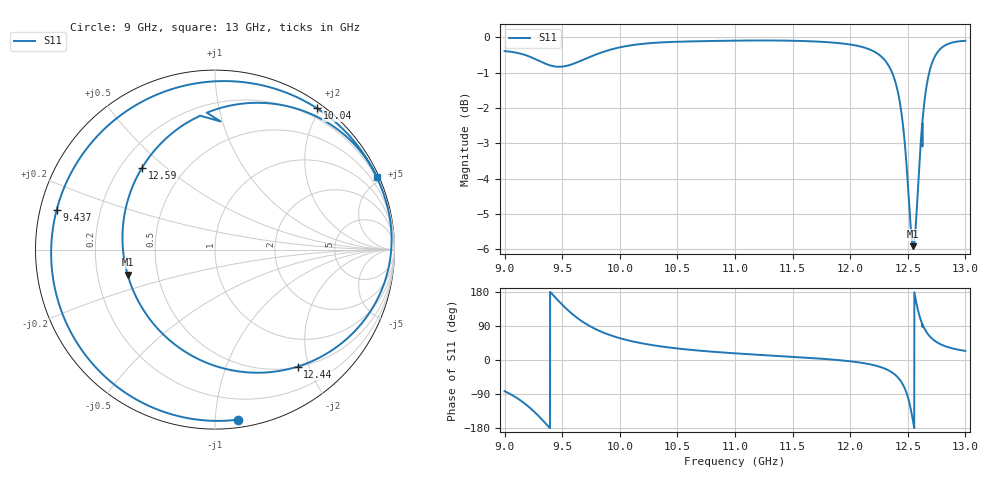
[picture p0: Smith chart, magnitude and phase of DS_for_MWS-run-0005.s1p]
! TOUCHSTONE file generated by CST DESIGN STUDIO
! Date and time: Tue Feb  4 13:14:52 2025
! Project name: C:\Work\MatlabApps\UnitCellOptimizationMatlab\CST\unitcell.cst
! Tree item: Tasks\Sweep1\SPara1\S-Parameters
! Header version: 2024
! Port assignment regex: !\s*Touchstone port\s*([0-9]+)\s*=\s*(CST MWS port|CST DES external port|CST DES block port)\s*(.+)\s* \(\"(.*)\"\)(\s*mode\s*([0-9]+))?.*
! Touchstone port assignment:
! Touchstone port 1 = CST DES external port 1 ("")
# GHz S MA R 50
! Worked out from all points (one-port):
!   4001 points, 9 GHz to 13 GHz, reference 50 ohm
!   lowest |S11| = -5.9 dB at 12.55 GHz (marker M1), VSWR 3.05, Z = 16.7 - j6.27 ohm
!   |S11| at or under -10 dB: nowhere
!   S11 on the Smith chart (normalised r, x): 9 GHz: 0.05, -1.14; 9.437 GHz: 0.05, +0.12; 10.04 GHz: 0.07, +1.95; 12.44 GHz: 0.51, -1.82; 12.59 GHz: 0.29, +0.42; 13 GHz: 0.13, +4.70
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9  0.9562 -82.4
9.123  0.9496 -103.5
9.22  0.9387 -126.3
9.338  0.9201 -161.4
9.437  0.9095 165.9
9.5  0.9091 146.0
9.591  0.9168 120.5
9.69  0.9308 98.5
9.838  0.9516 74.8
10  0.9679 57.6
10.04  0.9708 54.2
10.5  0.9858 30.4
11  0.9893 17.6
11.5  0.989 8.3
12  0.977 -3.4
12.301  0.9281 -22.8
12.379  0.8782 -36.3
12.437  0.7982 -54.7
12.5  0.622 -97.2
12.547  0.5065 -164.0
12.567  0.5352 162.0
12.588  0.6106 131.8
12.616  0.7235 102.6
12.648  0.8205 80.9
12.69  0.8971 62.7
12.737  0.941 50.0
12.839  0.9771 34.9
13  0.9888 24.0
